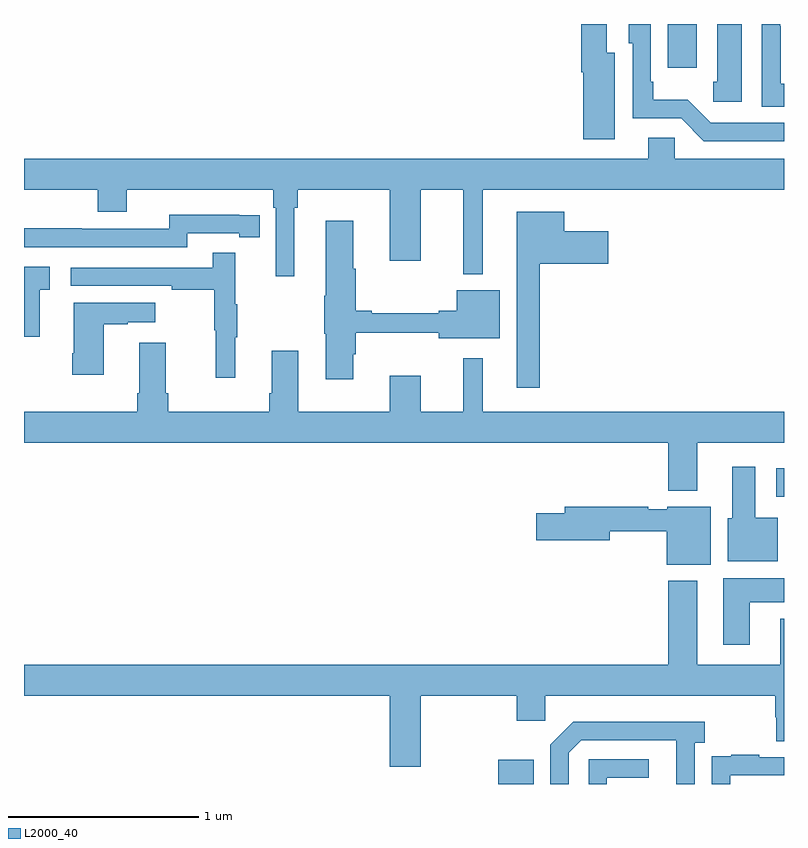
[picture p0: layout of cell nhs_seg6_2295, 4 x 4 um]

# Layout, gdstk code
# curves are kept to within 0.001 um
import gdstk
lib = gdstk.Library(unit=1e-6, precision=1e-09)
def R(c, l, rs):  # rectangles x0, y0, x1, y1
    for r in rs: c.add(gdstk.rectangle(r[:2], r[2:], *l))
def P(c, l, *ps):  # polygons
    for p in ps: c.add(gdstk.Polygon(p, *l))
L2000_40 = (2000, 40)

nhs_seg6_2295 = lib.new_cell('nhs_seg6_2295')
R(nhs_seg6_2295, L2000_40, [(249.495,985.5,249.682,985.627), (250.959,987.011,251,987.163), (250.388,989.271,250.54,989.5)])
P(nhs_seg6_2295, L2000_40, [(251,988.98),(250.614,988.98),(250.493,989.101),(250.312,989.101),(250.312,989.197),(250.299,989.197),(250.299,989.5),(250.182,989.5),(250.182,989.4),(250.203,989.4),(250.203,989.004),(250.458,989.004),(250.578,988.884),(251,988.884)],
  [(251,989.185),(250.983,989.185),(250.983,989.489),(250.981,989.489),(250.981,989.5),(250.884,989.5),(250.884,989.065),(251,989.065)],
  [(250.108,989.35),(250.066,989.35),(250.066,989.5),(249.932,989.5),(249.932,989.246),(249.944,989.246),(249.944,988.893),(250.108,988.893)],
  [(250.777,989.5),(250.649,989.5),(250.649,989.196),(250.627,989.196),(250.627,989.091),(250.777,989.091)],
  [(248.422,988.532),(248.441,988.532),(248.441,988.628),(248.924,988.628),(248.924,988.254),(249.088,988.254),(249.088,988.628),(249.311,988.628),(249.311,988.184),(249.415,988.184),(249.415,988.628),(251,988.628),(251,988.792),(250.425,988.792),(250.425,988.902),(250.286,988.902),(250.286,988.792),(247,988.792),(247,988.628),(247.388,988.628),(247.388,988.511),(247.54,988.511),(247.54,988.628),(248.312,988.628),(248.312,988.532),(248.325,988.532),(248.325,988.173),(248.422,988.173)],
  [(249.715,988.238),(250.075,988.238),(250.075,988.408),(249.844,988.408),(249.844,988.513),(249.593,988.513),(249.593,987.585),(249.715,987.585)],
  [(247.86,988.398),(248.132,988.398),(248.132,988.378),(248.24,988.378),(248.24,988.494),(248.132,988.494),(248.132,988.495),(247.764,988.495),(247.764,988.422),(247.304,988.422),(247.304,988.424),(247,988.424),(247,988.326),(247.86,988.326)],
  [(248.734,987.761),(248.747,987.761),(248.747,987.874),(249.182,987.874),(249.182,987.845),(249.505,987.845),(249.505,988.099),(249.278,988.099),(249.278,987.992),(249.182,987.992),(249.182,987.977),(248.83,987.977),(248.83,987.992),(248.747,987.992),(248.747,988.211),(248.734,988.211),(248.734,988.465),(248.588,988.465),(248.588,988.069),(248.581,988.069),(248.581,987.869),(248.588,987.869),(248.588,987.63),(248.734,987.63)],
  [(248.111,987.851),(248.122,987.851),(248.122,988.025),(248.111,988.025),(248.111,988.297),(247.993,988.297),(247.993,988.218),(247.245,988.218),(247.245,988.122),(247.777,988.122),(247.777,988.102),(248.001,988.102),(248.001,987.888),(248.008,987.888),(248.008,987.639),(248.111,987.639)],
  [(247.082,988.101),(247.135,988.101),(247.135,988.222),(247,988.222),(247,987.855),(247.082,987.855)],
  [(247.42,987.919),(247.547,987.919),(247.547,987.929),(247.69,987.929),(247.69,988.033),(247.262,988.033),(247.262,987.766),(247.255,987.766),(247.255,987.654),(247.42,987.654)],
  [(250.543,987.296),(251,987.296),(251,987.46),(249.415,987.46),(249.415,987.742),(249.311,987.742),(249.311,987.46),(249.088,987.46),(249.088,987.649),(248.924,987.649),(248.924,987.46),(248.443,987.46),(248.443,987.781),(248.303,987.781),(248.303,987.556),(248.291,987.556),(248.291,987.46),(247.76,987.46),(247.76,987.556),(247.747,987.556),(247.747,987.823),(247.607,987.823),(247.607,987.556),(247.595,987.556),(247.595,987.46),(247,987.46),(247,987.296),(250.391,987.296),(250.391,987.044),(250.543,987.044)],
  [(250.966,986.902),(250.849,986.902),(250.849,987.169),(250.727,987.169),(250.727,986.898),(250.703,986.898),(250.703,986.672),(250.966,986.672)],
  [(250.615,986.959),(250.386,986.959),(250.386,986.946),(250.286,986.946),(250.286,986.959),(249.845,986.959),(249.845,986.925),(249.696,986.925),(249.696,986.783),(250.084,986.783),(250.084,986.83),(250.382,986.83),(250.382,986.654),(250.615,986.654)],
  [(250.819,986.456),(251,986.456),(251,986.584),(250.679,986.584),(250.679,986.232),(250.819,986.232)],
  [(249.088,985.964),(249.593,985.964),(249.593,985.833),(249.744,985.833),(249.744,985.964),(250.955,985.964),(250.955,985.851),(250.96,985.851),(250.96,985.726),(251,985.726),(251,986.371),(250.979,986.371),(250.979,986.128),(250.543,986.128),(250.543,986.569),(250.391,986.569),(250.391,986.128),(247,986.128),(247,985.964),(248.924,985.964),(248.924,985.59),(249.088,985.59)],
  [(249.867,985.665),(249.933,985.731),(250.433,985.731),(250.434,985.5),(250.53,985.5),(250.53,985.718),(250.582,985.718),(250.582,985.828),(249.892,985.828),(249.771,985.707),(249.771,985.5),(249.867,985.5)],
  [(250.716,985.545),(251,985.545),(251,985.641),(250.871,985.641),(250.871,985.654),(250.723,985.654),(250.723,985.647),(250.621,985.647),(250.621,985.538),(250.62,985.538),(250.62,985.5),(250.716,985.5)],
  [(250.068,985.533),(250.288,985.533),(250.288,985.629),(249.972,985.629),(249.972,985.5),(250.068,985.5)])

lib.write_gds('nhs_seg6_2295.gds')
